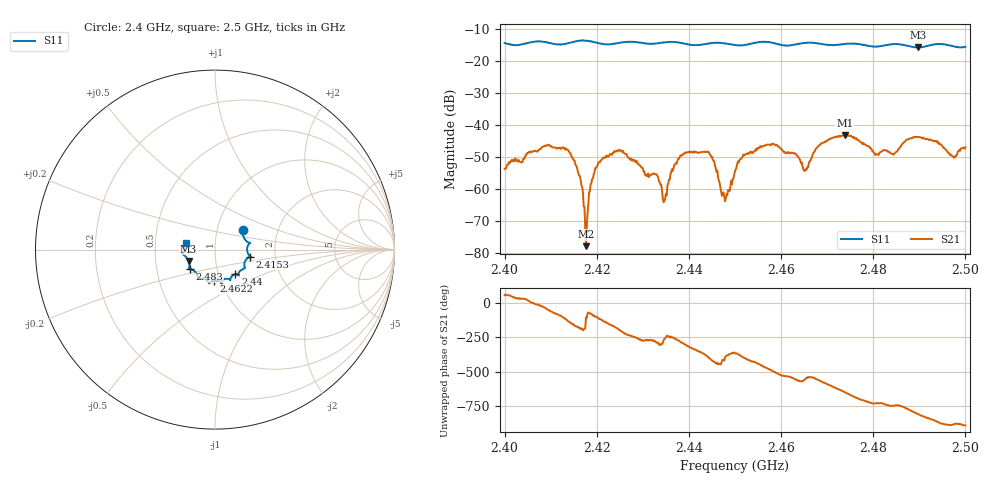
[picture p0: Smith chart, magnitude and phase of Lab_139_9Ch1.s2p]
# Hz S RI R 50
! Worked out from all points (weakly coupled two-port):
!   601 points, 2.4 GHz to 2.5 GHz, reference 50 ohm
!   highest |S21| = -43.12 dB at 2.4738 GHz (marker M1); lowest = -77.8 dB at 2.4177 GHz (marker M2)
!   lowest |S11| = -15.9 dB at 2.4897 GHz (marker M3), VSWR 1.38, Z = 36.9 - j4.81 ohm
!   |S11| at or under -10 dB: start of sweep to end of sweep
!   S12 and S22 are empty: the file has one direction only
!   S11 on the Smith chart (normalised r, x): 2.4 GHz: 1.33, +0.29; 2.4153 GHz: 1.48, -0.12; 2.44 GHz: 1.20, -0.34; 2.4622 GHz: 0.93, -0.33; 2.483 GHz: 0.74, -0.17; 2.5 GHz: 0.72, +0.06
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2.4e9  0.1553 0.1066  0.00115 0.0017  0 0  0 0
2.409167e9  0.1903 0.033  0.00341 -0.00342  0 0  0 0
2.415333e9  0.1963 -0.0385  -0.00241 -0.000457  0 0  0 0
2.416667e9  0.2018 -0.0426  -0.00115 9.74e-05  0 0  0 0
2.417667e9  0.2008 -0.0423  -3.1e-05 -0.000125  0 0  0 0
2.419167e9  0.1922 -0.0424  -6.55e-05 -0.00147  0 0  0 0
2.421833e9  0.1689 -0.0622  -0.0023 -0.00206  0 0  0 0
2.433333e9  0.1311 -0.1336  0.000488 0.00143  0 0  0 0
2.434667e9  0.1305 -0.1421  -8e-05 0.000639  0 0  0 0
2.44e9  0.114 -0.1369  0.00278 0.00246  0 0  0 0
2.4445e9  0.0848 -0.1663  0.00252 -0.00245  0 0  0 0
2.447667e9  0.0822 -0.1672  0.000388 -0.000664  0 0  0 0
2.45e9  0.0646 -0.1626  0.00191 -0.000147  0 0  0 0
2.456e9  0.0383 -0.1929  -0.00077 -0.00461  0 0  0 0
2.462167e9  -0.00744 -0.1738  -0.0037 6.47e-05  0 0  0 0
2.465167e9  -0.0324 -0.1867  -0.00186 0.000514  0 0  0 0
2.466667e9  -0.0341 -0.1876  -0.00305 5.28e-05  0 0  0 0
2.473833e9  -0.0862 -0.1607  0.00224 0.00662  0 0  0 0
2.483e9  -0.1377 -0.1095  0.00364 -0.00165  0 0  0 0
2.483333e9  -0.1402 -0.1093  0.00347 -0.00161  0 0  0 0
2.489667e9  -0.1474 -0.0635  0.000245 -0.00645  0 0  0 0
2.5e9  -0.1596 0.0393  -0.00442 -0.000685  0 0  0 0
